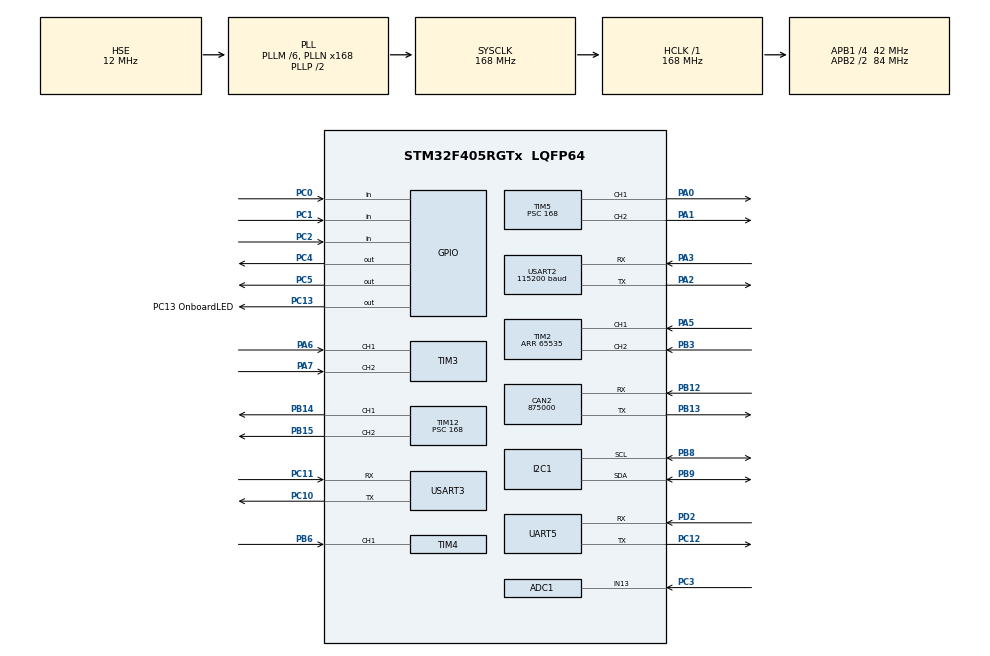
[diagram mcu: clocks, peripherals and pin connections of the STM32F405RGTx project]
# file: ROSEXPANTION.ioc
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ADC1.Channel-0\#ChannelRegularConversion=ADC_CHANNEL_13
ADC1.ContinuousConvMode=ENABLE
ADC1.NbrOfConversionFlag=1
ADC1.Rank-0\#ChannelRegularConversion=1
ADC1.SamplingTime-0\#ChannelRegularConversion=ADC_SAMPLETIME_3CYCLES
ADC1.master=1
CAN2.CalculateBaudRate=875000
CAN2.CalculateTimeBit=1142
CAN2.CalculateTimeQuantum=380.95238095238096
Dma.Request0=USART2_RX
Dma.Request1=USART2_TX
Dma.USART2_RX.0.Direction=DMA_PERIPH_TO_MEMORY
Dma.USART2_RX.0.FIFOMode=DMA_FIFOMODE_DISABLE
Dma.USART2_RX.0.Instance=DMA1_Stream5
Dma.USART2_RX.0.MemDataAlignment=DMA_MDATAALIGN_BYTE
Dma.USART2_RX.0.MemInc=DMA_MINC_ENABLE
Dma.USART2_RX.0.Mode=DMA_NORMAL
Dma.USART2_RX.0.PeriphDataAlignment=DMA_PDATAALIGN_BYTE
Dma.USART2_RX.0.PeriphInc=DMA_PINC_DISABLE
Dma.USART2_RX.0.Priority=DMA_PRIORITY_HIGH
Dma.USART2_TX.1.Direction=DMA_MEMORY_TO_PERIPH
Dma.USART2_TX.1.FIFOMode=DMA_FIFOMODE_DISABLE
Dma.USART2_TX.1.Instance=DMA1_Stream6
Dma.USART2_TX.1.MemDataAlignment=DMA_MDATAALIGN_BYTE
Dma.USART2_TX.1.MemInc=DMA_MINC_ENABLE
Dma.USART2_TX.1.Mode=DMA_NORMAL
Dma.USART2_TX.1.PeriphDataAlignment=DMA_PDATAALIGN_BYTE
Dma.USART2_TX.1.PeriphInc=DMA_PINC_DISABLE
Dma.USART2_TX.1.Priority=DMA_PRIORITY_HIGH
I2C1.I2C_Mode=I2C_Fast
Mcu.Family=STM32F4
Mcu.Name=STM32F405RGTx
Mcu.Package=LQFP64
NVIC.DMA1_Stream5_IRQn=true\:0\:0\:false\:false\:true\:false\:true\:true
NVIC.DMA1_Stream6_IRQn=true\:0\:0\:false\:false\:true\:false\:true\:true
NVIC.PriorityGroup=NVIC_PRIORITYGROUP_4
NVIC.TIM2_IRQn=true\:0\:0\:false\:false\:true\:true\:true\:true
NVIC.TIM3_IRQn=true\:0\:0\:false\:false\:true\:true\:true\:true
NVIC.TIM4_IRQn=true\:0\:0\:false\:false\:true\:true\:true\:true
NVIC.TIM5_IRQn=true\:0\:0\:false\:false\:true\:true\:true\:true
NVIC.TIM8_BRK_TIM12_IRQn=true\:0\:0\:false\:false\:true\:true\:true\:true
NVIC.UART5_IRQn=true\:0\:0\:false\:false\:true\:true\:true\:true
NVIC.USART2_IRQn=true\:0\:0\:false\:false\:true\:true\:true\:true
PA0-WKUP.Signal=S_TIM5_CH1
PA1.Signal=S_TIM5_CH2
PA13.Signal=SYS_JTMS-SWDIO
PA14.Signal=SYS_JTCK-SWCLK
PA2.Mode=Asynchronous
PA2.Signal=USART2_TX
PA3.Mode=Asynchronous
PA3.Signal=USART2_RX
PA5.Signal=S_TIM2_CH1_ETR
PA6.Signal=S_TIM3_CH1
PA7.Signal=S_TIM3_CH2
PB12.Mode=CAN_Activate
PB12.Signal=CAN2_RX
PB13.Mode=CAN_Activate
PB13.Signal=CAN2_TX
PB14.Signal=S_TIM12_CH1
PB15.Signal=S_TIM12_CH2
PB3.Signal=S_TIM2_CH2
PB6.Signal=S_TIM4_CH1
PB8.Mode=I2C
PB8.Signal=I2C1_SCL
PB9.Mode=I2C
PB9.Signal=I2C1_SDA
PC0.Signal=GPIO_Input
PC1.Signal=GPIO_Input
PC10.Mode=Asynchronous
PC10.Signal=USART3_TX
PC11.Mode=Asynchronous
PC11.Signal=USART3_RX
PC12.Mode=Asynchronous
PC12.Signal=UART5_TX
PC13-ANTI_TAMP.GPIO_Label=PC13 OnboardLED
PC13-ANTI_TAMP.Signal=GPIO_Output
PC14-OSC32_IN.Mode=LSE-External-Oscillator
PC14-OSC32_IN.Signal=RCC_OSC32_IN
PC15-OSC32_OUT.Mode=LSE-External-Oscillator
PC15-OSC32_OUT.Signal=RCC_OSC32_OUT
PC2.Signal=GPIO_Input
PC3.Signal=ADCx_IN13
PC4.Signal=GPIO_Output
PC5.Signal=GPIO_Output
PD2.Mode=Asynchronous
PD2.Signal=UART5_RX
PH0-OSC_IN.Mode=HSE-External-Oscillator
PH0-OSC_IN.Signal=RCC_OSC_IN
PH1-OSC_OUT.Mode=HSE-External-Oscillator
PH1-OSC_OUT.Signal=RCC_OSC_OUT
ProjectManager.HeapSize=0x200
ProjectManager.StackSize=0x400
ProjectManager.TargetToolchain=STM32CubeIDE
RCC.48MHZClocksFreq_Value=48000000
RCC.AHBFreq_Value=168000000
RCC.APB1CLKDivider=RCC_HCLK_DIV4
RCC.APB1Freq_Value=42000000
RCC.APB1TimFreq_Value=84000000
RCC.APB2CLKDivider=RCC_HCLK_DIV2
RCC.APB2Freq_Value=84000000
RCC.APB2TimFreq_Value=168000000
RCC.CortexFreq_Value=168000000
RCC.HCLKFreq_Value=168000000
RCC.HSE_VALUE=12000000
RCC.HSI_VALUE=16000000
RCC.PLLM=6
RCC.PLLN=168
RCC.PLLQ=7
RCC.PLLSourceVirtual=RCC_PLLSOURCE_HSE
RCC.RCC_RTC_Clock_Source=RCC_RTCCLKSOURCE_LSE
RCC.RCC_RTC_Clock_SourceVirtual=RCC_RTCCLKSOURCE_LSE
RCC.SYSCLKFreq_VALUE=168000000
RCC.SYSCLKSource=RCC_SYSCLKSOURCE_PLLCLK
RCC.VCOOutputFreq_Value=336000000
SH.ADCx_IN13.0=ADC1_IN13,IN13
SH.S_TIM12_CH1.0=TIM12_CH1,PWM Generation1 CH1
SH.S_TIM12_CH2.0=TIM12_CH2,PWM Generation2 CH2
SH.S_TIM2_CH1_ETR.0=TIM2_CH1,Encoder_Interface
SH.S_TIM2_CH2.0=TIM2_CH2,Encoder_Interface
SH.S_TIM3_CH1.0=TIM3_CH1,Encoder_Interface
SH.S_TIM3_CH2.0=TIM3_CH2,Encoder_Interface
SH.S_TIM4_CH1.0=TIM4_CH1,PWM_Input_1
SH.S_TIM5_CH1.0=TIM5_CH1,PWM Generation1 CH1
SH.S_TIM5_CH2.0=TIM5_CH2,PWM Generation2 CH2
TIM1.AutoReloadPreload=TIM_AUTORELOAD_PRELOAD_DISABLE
TIM1.Period=100-1
TIM1.Prescaler=84-1
TIM12.Channel-PWM\ Generation1\ CH1=TIM_CHANNEL_1
TIM12.Channel-PWM\ Generation2\ CH2=TIM_CHANNEL_2
TIM12.Period=10000
TIM12.Prescaler=168
TIM2.EncoderMode=TIM_ENCODERMODE_TI12
TIM2.Period=65535
TIM3.EncoderMode=TIM_ENCODERMODE_TI12
TIM3.IC1Polarity=TIM_ICPOLARITY_RISING
TIM3.IC2Polarity=TIM_ICPOLARITY_RISING
TIM4.Prescaler=83
TIM5.Channel-PWM\ Generation1\ CH1=TIM_CHANNEL_1
TIM5.Channel-PWM\ Generation2\ CH2=TIM_CHANNEL_2
TIM5.Period=10000
TIM5.Prescaler=168
TIM8.Period=100-1
TIM8.Prescaler=84-1
UART5.VirtualMode=Asynchronous
USART2.BaudRate=115200
USART2.VirtualMode=VM_ASYNC
USART3.VirtualMode=VM_ASYNC
VP_RTC_VS_RTC_Activate.Mode=RTC_Enabled
VP_TIM12_VS_ClockSourceINT.Mode=Internal
VP_TIM1_VS_ClockSourceINT.Mode=Internal
VP_TIM4_VS_ClockSourceINT.Mode=Internal
VP_TIM5_VS_ClockSourceINT.Mode=Internal
VP_TIM8_VS_ClockSourceINT.Mode=Internal
board=custom

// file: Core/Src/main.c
/* USER CODE BEGIN Header */
/**
  ******************************************************************************
  * @file           : main.c
  * @brief          : Main program body
  ******************************************************************************
  * @attention
  *
  * Copyright (c) 2024 STMicroelectronics.
  * All rights reserved.
  *
  * This software is licensed under terms that can be found in the LICENSE file
  * in the root directory of this software component.
  * If no LICENSE file comes with this software, it is provided AS-IS.
  *
  ******************************************************************************
  */
/* USER CODE END Header */
#include "main.h"

/* USER CODE BEGIN Includes */
  uint16_t rangeluna=0;
  uint16_t rangelunaL=0;
  uint16_t rangelunaR=0;
  const int numReadings = 10;

  int readings1[10];  // the readings from the analog input
  int readIndex1 = 0;          // the index of the current reading
  int total1 = 0;              // the running total
  int average1 = 0;            // the average

  int readings2[10];  // the readings from the analog input
  int readIndex2 = 0;          // the index of the current reading
  int total2 = 0;              // the running total
  int average2 = 0;            // the average
  float accumulator=0;
/* USER CODE END Includes */

ADC_HandleTypeDef hadc1;

CAN_HandleTypeDef hcan2;

I2C_HandleTypeDef hi2c1;

RTC_HandleTypeDef hrtc;

TIM_HandleTypeDef htim1;
TIM_HandleTypeDef htim2;
TIM_HandleTypeDef htim3;
TIM_HandleTypeDef htim4;
TIM_HandleTypeDef htim5;
TIM_HandleTypeDef htim8;
TIM_HandleTypeDef htim12;

UART_HandleTypeDef huart5;
UART_HandleTypeDef huart2;
UART_HandleTypeDef huart3;
DMA_HandleTypeDef hdma_usart2_rx;
DMA_HandleTypeDef hdma_usart2_tx;

void SystemClock_Config(void);
static void MX_GPIO_Init(void);
static void MX_DMA_Init(void);
static void MX_I2C1_Init(void);
static void MX_USART2_UART_Init(void);
static void MX_CAN2_Init(void);
static void MX_TIM2_Init(void);
static void MX_TIM3_Init(void);
static void MX_TIM4_Init(void);
static void MX_TIM5_Init(void);
static void MX_TIM8_Init(void);
static void MX_ADC1_Init(void);
static void MX_RTC_Init(void);
static void MX_USART3_UART_Init(void);
static void MX_TIM1_Init(void);
static void MX_UART5_Init(void);
static void MX_TIM12_Init(void);

/* USER CODE BEGIN 0 */
uint8_t rx_buff[20];
uint16_t lunaLofset=0;
uint16_t lunaRofset=0;

/* USER CODE END 0 */

int main(void)
{

  /* MCU Configuration--------------------------------------------------------*/

  /* Reset of all peripherals, Initializes the Flash interface and the Systick. */
  HAL_Init();

  /* Configure the system clock */
  SystemClock_Config();

  /* Initialize all configured peripherals */
  MX_GPIO_Init();
  MX_DMA_Init();
  MX_I2C1_Init();
  MX_USART2_UART_Init();
  MX_CAN2_Init();
  MX_TIM2_Init();
  MX_TIM3_Init();
  MX_TIM4_Init();
  MX_TIM5_Init();
  MX_TIM8_Init();
  MX_ADC1_Init();
  MX_RTC_Init();
  MX_USART3_UART_Init();
  MX_TIM1_Init();
  MX_UART5_Init();
  MX_TIM12_Init();
  /* USER CODE BEGIN 2 */

  TIM5->CCR2 = 5000;
  TIM5->CCR1 = 5000;
  TIM12->CCR2 = 5000;
  TIM12->CCR1 = 5000;
 HAL_TIM_PWM_Start(&htim5, TIM_CHANNEL_1);
 HAL_TIM_PWM_Start(&htim5, TIM_CHANNEL_2);
 HAL_TIM_PWM_Start(&htim12, TIM_CHANNEL_1);
 HAL_TIM_PWM_Start(&htim12, TIM_CHANNEL_2);

  setupcpp();
  //HAL_TIM_IC_Start_IT(&htim5, TIM_CHANNEL_1);// Interrupt
  uint32_t time_ms_tick,time_ms_otick,time_ms_lcdtick;

  for (int thisReading1 = 0; thisReading1 < numReadings; thisReading1++) {
    readings1[thisReading1] = 0;
  }
  for (int thisReading2 = 0; thisReading2 < numReadings; thisReading2++) {
    readings2[thisReading2] = 0;
  }

  /* USER CODE END 2 */

  /* Infinite loop */
  /* USER CODE BEGIN WHILE */
  while (1)
  {

	  time_ms_tick = HAL_GetTick();
	  if(time_ms_tick -time_ms_otick > 100){
		  	time_ms_otick=time_ms_tick;
			loop();//Access CPP
	  }

	  for(int k =0;k<20;k++){
		  rx_buff[k]=0x00;
	  }

	  if(HAL_UART_Receive(&huart5, rx_buff, 20, 50)==HAL_OK) //if transfer is successful
	  {
	    __NOP(); //You need to toggle a breakpoint on this line!
	    for(int uidx=0;uidx<19;uidx++){
	    	if(uidx<15){
				if(rx_buff[uidx]==0x59 & rx_buff[uidx+1]==0x59){
					rangeluna = rx_buff[uidx+2] | rx_buff[uidx+3]<<8;
					rangeluna=rangeluna-lunaLofset;

					//Check if Value is OK
					if((rangeluna > 0) & (rangeluna < 500) ){

						  // subtract the last reading:
						  total1 = total1 - readings1[readIndex1];
						  // read from the sensor:
						  readings1[readIndex1] = rangeluna;
						  // add the reading to the total:
						  total1 = total1 + readings1[readIndex1];
						  // advance to the next position in the array:
						  readIndex1 = readIndex1 + 1;
						  // if we're at the end of the array...
						  if (readIndex1 >= numReadings) {
							// ...wrap around to the beginning:
							readIndex1 = 0;
						  }
						  // calculate the average:
						  rangelunaR = total1 / numReadings;

					}else{
						rangelunaR = 70;
					}

				}
	    	}
	    }

	  } else {
		  rangelunaR=0;

	  }

	  if(HAL_UART_Receive(&huart3, rx_buff, 20, 50)==HAL_OK) //if transfer is successful
	  {
	    __NOP(); //You need to toggle a breakpoint on this line!
	    for(int uidx=0;uidx<19;uidx++){
	    	if(uidx<15){
				if(rx_buff[uidx]==0x59 & rx_buff[uidx+1]==0x59){
					rangeluna = rx_buff[uidx+2] | rx_buff[uidx+3]<<8;
					rangeluna=rangeluna-lunaRofset;

					//Check if Value is OK
					if((rangeluna > 0) & (rangeluna < 500) ){

						  // subtract the last reading:
						  total2 = total2 - readings2[readIndex2];
						  // read from the sensor:
						  readings2[readIndex2] = rangeluna;
						  // add the reading to the total:
						  total2 = total2 + readings2[readIndex2];
						  // advance to the next position in the array:
						  readIndex2 = readIndex2 + 1;
						  // if we're at the end of the array...
						  if (readIndex2 >= numReadings) {
							// ...wrap around to the beginning:
							readIndex2 = 0;
						  }
						  // calculate the average:
						  rangelunaL = total2 / numReadings;

					}else{
						rangelunaL = 70;
					}

				}
	    	}
	    }

	  } else {
	    __NOP();
	    rangelunaL=0;
	  }

    /* USER CODE END WHILE */

  }
}

void SystemClock_Config(void)
{
  RCC_OscInitTypeDef RCC_OscInitStruct = {0};
  RCC_ClkInitTypeDef RCC_ClkInitStruct = {0};

  /** Configure the main internal regulator output voltage
  */
  __HAL_RCC_PWR_CLK_ENABLE();
  __HAL_PWR_VOLTAGESCALING_CONFIG(PWR_REGULATOR_VOLTAGE_SCALE1);

  /** Initializes the RCC Oscillators according to the specified parameters
  * in the RCC_OscInitTypeDef structure.
  */
  RCC_OscInitStruct.OscillatorType = RCC_OSCILLATORTYPE_HSE|RCC_OSCILLATORTYPE_LSE;
  RCC_OscInitStruct.HSEState = RCC_HSE_ON;
  RCC_OscInitStruct.LSEState = RCC_LSE_ON;
  RCC_OscInitStruct.PLL.PLLState = RCC_PLL_ON;
  RCC_OscInitStruct.PLL.PLLSource = RCC_PLLSOURCE_HSE;
  RCC_OscInitStruct.PLL.PLLM = 6;
  RCC_OscInitStruct.PLL.PLLN = 168;
  RCC_OscInitStruct.PLL.PLLP = RCC_PLLP_DIV2;
  RCC_OscInitStruct.PLL.PLLQ = 7;
  if (HAL_RCC_OscConfig(&RCC_OscInitStruct) != HAL_OK)
  {
    Error_Handler();
  }

  /** Initializes the CPU, AHB and APB buses clocks
  */
  RCC_ClkInitStruct.ClockType = RCC_CLOCKTYPE_HCLK|RCC_CLOCKTYPE_SYSCLK
                              |RCC_CLOCKTYPE_PCLK1|RCC_CLOCKTYPE_PCLK2;
  RCC_ClkInitStruct.SYSCLKSource = RCC_SYSCLKSOURCE_PLLCLK;
  RCC_ClkInitStruct.AHBCLKDivider = RCC_SYSCLK_DIV1;
  RCC_ClkInitStruct.APB1CLKDivider = RCC_HCLK_DIV4;
  RCC_ClkInitStruct.APB2CLKDivider = RCC_HCLK_DIV2;

  if (HAL_RCC_ClockConfig(&RCC_ClkInitStruct, FLASH_LATENCY_5) != HAL_OK)
  {
    Error_Handler();
  }
}

static void MX_ADC1_Init(void)
{

  ADC_ChannelConfTypeDef sConfig = {0};

  /** Configure the global features of the ADC (Clock, Resolution, Data Alignment and number of conversion)
  */
  hadc1.Instance = ADC1;
  hadc1.Init.ClockPrescaler = ADC_CLOCK_SYNC_PCLK_DIV4;
  hadc1.Init.Resolution = ADC_RESOLUTION_12B;
  hadc1.Init.ScanConvMode = DISABLE;
  hadc1.Init.ContinuousConvMode = ENABLE;
  hadc1.Init.DiscontinuousConvMode = DISABLE;
  hadc1.Init.ExternalTrigConvEdge = ADC_EXTERNALTRIGCONVEDGE_NONE;
  hadc1.Init.ExternalTrigConv = ADC_SOFTWARE_START;
  hadc1.Init.DataAlign = ADC_DATAALIGN_RIGHT;
  hadc1.Init.NbrOfConversion = 1;
  hadc1.Init.DMAContinuousRequests = DISABLE;
  hadc1.Init.EOCSelection = ADC_EOC_SINGLE_CONV;
  if (HAL_ADC_Init(&hadc1) != HAL_OK)
  {
    Error_Handler();
  }

  /** Configure for the selected ADC regular channel its corresponding rank in the sequencer and its sample time.
  */
  sConfig.Channel = ADC_CHANNEL_13;
  sConfig.Rank = 1;
  sConfig.SamplingTime = ADC_SAMPLETIME_3CYCLES;
  if (HAL_ADC_ConfigChannel(&hadc1, &sConfig) != HAL_OK)
  {
    Error_Handler();
  }

}

static void MX_CAN2_Init(void)
{

  hcan2.Instance = CAN2;
  hcan2.Init.Prescaler = 16;
  hcan2.Init.Mode = CAN_MODE_NORMAL;
  hcan2.Init.SyncJumpWidth = CAN_SJW_1TQ;
  hcan2.Init.TimeSeg1 = CAN_BS1_1TQ;
  hcan2.Init.TimeSeg2 = CAN_BS2_1TQ;
  hcan2.Init.TimeTriggeredMode = DISABLE;
  hcan2.Init.AutoBusOff = DISABLE;
  hcan2.Init.AutoWakeUp = DISABLE;
  hcan2.Init.AutoRetransmission = DISABLE;
  hcan2.Init.ReceiveFifoLocked = DISABLE;
  hcan2.Init.TransmitFifoPriority = DISABLE;
  if (HAL_CAN_Init(&hcan2) != HAL_OK)
  {
    Error_Handler();
  }

}

static void MX_I2C1_Init(void)
{

  hi2c1.Instance = I2C1;
  hi2c1.Init.ClockSpeed = 400000;
  hi2c1.Init.DutyCycle = I2C_DUTYCYCLE_2;
  hi2c1.Init.OwnAddress1 = 0;
  hi2c1.Init.AddressingMode = I2C_ADDRESSINGMODE_7BIT;
  hi2c1.Init.DualAddressMode = I2C_DUALADDRESS_DISABLE;
  hi2c1.Init.OwnAddress2 = 0;
  hi2c1.Init.GeneralCallMode = I2C_GENERALCALL_DISABLE;
  hi2c1.Init.NoStretchMode = I2C_NOSTRETCH_DISABLE;
  if (HAL_I2C_Init(&hi2c1) != HAL_OK)
  {
    Error_Handler();
  }

}

static void MX_RTC_Init(void)
{

  /** Initialize RTC Only
  */
  hrtc.Instance = RTC;
  hrtc.Init.HourFormat = RTC_HOURFORMAT_24;
  hrtc.Init.AsynchPrediv = 127;
  hrtc.Init.SynchPrediv = 255;
  hrtc.Init.OutPut = RTC_OUTPUT_DISABLE;
  hrtc.Init.OutPutPolarity = RTC_OUTPUT_POLARITY_HIGH;
  hrtc.Init.OutPutType = RTC_OUTPUT_TYPE_OPENDRAIN;
  if (HAL_RTC_Init(&hrtc) != HAL_OK)
  {
    Error_Handler();
  }

}

static void MX_TIM1_Init(void)
{

  TIM_ClockConfigTypeDef sClockSourceConfig = {0};
  TIM_MasterConfigTypeDef sMasterConfig = {0};

  htim1.Instance = TIM1;
  htim1.Init.Prescaler = 84-1;
  htim1.Init.CounterMode = TIM_COUNTERMODE_UP;
  htim1.Init.Period = 100-1;
  htim1.Init.ClockDivision = TIM_CLOCKDIVISION_DIV1;
  htim1.Init.RepetitionCounter = 0;
  htim1.Init.AutoReloadPreload = TIM_AUTORELOAD_PRELOAD_DISABLE;
  if (HAL_TIM_Base_Init(&htim1) != HAL_OK)
  {
    Error_Handler();
  }
  sClockSourceConfig.ClockSource = TIM_CLOCKSOURCE_INTERNAL;
  if (HAL_TIM_ConfigClockSource(&htim1, &sClockSourceConfig) != HAL_OK)
  {
    Error_Handler();
  }
  sMasterConfig.MasterOutputTrigger = TIM_TRGO_RESET;
  sMasterConfig.MasterSlaveMode = TIM_MASTERSLAVEMODE_DISABLE;
  if (HAL_TIMEx_MasterConfigSynchronization(&htim1, &sMasterConfig) != HAL_OK)
  {
    Error_Handler();
  }

}

static void MX_TIM2_Init(void)
{

  TIM_Encoder_InitTypeDef sConfig = {0};
  TIM_MasterConfigTypeDef sMasterConfig = {0};

  htim2.Instance = TIM2;
  htim2.Init.Prescaler = 0;
  htim2.Init.CounterMode = TIM_COUNTERMODE_UP;
  htim2.Init.Period = 65535;
  htim2.Init.ClockDivision = TIM_CLOCKDIVISION_DIV1;
  htim2.Init.AutoReloadPreload = TIM_AUTORELOAD_PRELOAD_DISABLE;
  sConfig.EncoderMode = TIM_ENCODERMODE_TI12;
  sConfig.IC1Polarity = TIM_ICPOLARITY_RISING;
  sConfig.IC1Selection = TIM_ICSELECTION_DIRECTTI;
  sConfig.IC1Prescaler = TIM_ICPSC_DIV1;
  sConfig.IC1Filter = 0;
  sConfig.IC2Polarity = TIM_ICPOLARITY_RISING;
  sConfig.IC2Selection = TIM_ICSELECTION_DIRECTTI;
  sConfig.IC2Prescaler = TIM_ICPSC_DIV1;
  sConfig.IC2Filter = 0;
  if (HAL_TIM_Encoder_Init(&htim2, &sConfig) != HAL_OK)
  {
    Error_Handler();
  }
  sMasterConfig.MasterOutputTrigger = TIM_TRGO_RESET;
  sMasterConfig.MasterSlaveMode = TIM_MASTERSLAVEMODE_DISABLE;
  if (HAL_TIMEx_MasterConfigSynchronization(&htim2, &sMasterConfig) != HAL_OK)
  {
    Error_Handler();
  }

}

static void MX_TIM3_Init(void)
{

  TIM_Encoder_InitTypeDef sConfig = {0};
  TIM_MasterConfigTypeDef sMasterConfig = {0};

  htim3.Instance = TIM3;
  htim3.Init.Prescaler = 0;
  htim3.Init.CounterMode = TIM_COUNTERMODE_UP;
  htim3.Init.Period = 65535;
  htim3.Init.ClockDivision = TIM_CLOCKDIVISION_DIV1;
  htim3.Init.AutoReloadPreload = TIM_AUTORELOAD_PRELOAD_DISABLE;
  sConfig.EncoderMode = TIM_ENCODERMODE_TI12;
  sConfig.IC1Polarity = TIM_ICPOLARITY_RISING;
  sConfig.IC1Selection = TIM_ICSELECTION_DIRECTTI;
  sConfig.IC1Prescaler = TIM_ICPSC_DIV1;
  sConfig.IC1Filter = 0;
  sConfig.IC2Polarity = TIM_ICPOLARITY_RISING;
  sConfig.IC2Selection = TIM_ICSELECTION_DIRECTTI;
  sConfig.IC2Prescaler = TIM_ICPSC_DIV1;
  sConfig.IC2Filter = 0;
  if (HAL_TIM_Encoder_Init(&htim3, &sConfig) != HAL_OK)
  {
    Error_Handler();
  }
  sMasterConfig.MasterOutputTrigger = TIM_TRGO_RESET;
  sMasterConfig.MasterSlaveMode = TIM_MASTERSLAVEMODE_DISABLE;
  if (HAL_TIMEx_MasterConfigSynchronization(&htim3, &sMasterConfig) != HAL_OK)
  {
    Error_Handler();
  }

}

static void MX_TIM4_Init(void)
{

  TIM_ClockConfigTypeDef sClockSourceConfig = {0};
  TIM_SlaveConfigTypeDef sSlaveConfig = {0};
  TIM_IC_InitTypeDef sConfigIC = {0};
  TIM_MasterConfigTypeDef sMasterConfig = {0};

  htim4.Instance = TIM4;
  htim4.Init.Prescaler = 83;
  htim4.Init.CounterMode = TIM_COUNTERMODE_UP;
  htim4.Init.Period = 65535;
  htim4.Init.ClockDivision = TIM_CLOCKDIVISION_DIV1;
  htim4.Init.AutoReloadPreload = TIM_AUTORELOAD_PRELOAD_DISABLE;
  if (HAL_TIM_Base_Init(&htim4) != HAL_OK)
  {
    Error_Handler();
  }
  sClockSourceConfig.ClockSource = TIM_CLOCKSOURCE_INTERNAL;
  if (HAL_TIM_ConfigClockSource(&htim4, &sClockSourceConfig) != HAL_OK)
  {
    Error_Handler();
  }
  if (HAL_TIM_IC_Init(&htim4) != HAL_OK)
  {
    Error_Handler();
  }
  sSlaveConfig.SlaveMode = TIM_SLAVEMODE_RESET;
  sSlaveConfig.InputTrigger = TIM_TS_TI1FP1;
  sSlaveConfig.TriggerPolarity = TIM_INPUTCHANNELPOLARITY_RISING;
  sSlaveConfig.TriggerPrescaler = TIM_ICPSC_DIV1;
  sSlaveConfig.TriggerFilter = 0;
  if (HAL_TIM_SlaveConfigSynchro(&htim4, &sSlaveConfig) != HAL_OK)
  {
    Error_Handler();
  }
  sConfigIC.ICPolarity = TIM_INPUTCHANNELPOLARITY_RISING;
  sConfigIC.ICSelection = TIM_ICSELECTION_DIRECTTI;
  sConfigIC.ICPrescaler = TIM_ICPSC_DIV1;
  sConfigIC.ICFilter = 0;
  if (HAL_TIM_IC_ConfigChannel(&htim4, &sConfigIC, TIM_CHANNEL_1) != HAL_OK)
  {
    Error_Handler();
  }
  sConfigIC.ICPolarity = TIM_INPUTCHANNELPOLARITY_FALLING;
  sConfigIC.ICSelection = TIM_ICSELECTION_INDIRECTTI;
  if (HAL_TIM_IC_ConfigChannel(&htim4, &sConfigIC, TIM_CHANNEL_2) != HAL_OK)
  {
    Error_Handler();
  }
  sMasterConfig.MasterOutputTrigger = TIM_TRGO_RESET;
  sMasterConfig.MasterSlaveMode = TIM_MASTERSLAVEMODE_DISABLE;
  if (HAL_TIMEx_MasterConfigSynchronization(&htim4, &sMasterConfig) != HAL_OK)
  {
    Error_Handler();
  }

}

static void MX_TIM5_Init(void)
{

  TIM_ClockConfigTypeDef sClockSourceConfig = {0};
  TIM_MasterConfigTypeDef sMasterConfig = {0};
  TIM_OC_InitTypeDef sConfigOC = {0};

  htim5.Instance = TIM5;
  htim5.Init.Prescaler = 168;
  htim5.Init.CounterMode = TIM_COUNTERMODE_UP;
  htim5.Init.Period = 10000;
  htim5.Init.ClockDivision = TIM_CLOCKDIVISION_DIV1;
  htim5.Init.AutoReloadPreload = TIM_AUTORELOAD_PRELOAD_DISABLE;
  if (HAL_TIM_Base_Init(&htim5) != HAL_OK)
  {
    Error_Handler();
  }
  sClockSourceConfig.ClockSource = TIM_CLOCKSOURCE_INTERNAL;
  if (HAL_TIM_ConfigClockSource(&htim5, &sClockSourceConfig) != HAL_OK)
  {
    Error_Handler();
  }
  if (HAL_TIM_PWM_Init(&htim5) != HAL_OK)
  {
    Error_Handler();
  }
  sMasterConfig.MasterOutputTrigger = TIM_TRGO_RESET;
  sMasterConfig.MasterSlaveMode = TIM_MASTERSLAVEMODE_DISABLE;
  if (HAL_TIMEx_MasterConfigSynchronization(&htim5, &sMasterConfig) != HAL_OK)
  {
    Error_Handler();
  }
  sConfigOC.OCMode = TIM_OCMODE_PWM1;
  sConfigOC.Pulse = 0;
  sConfigOC.OCPolarity = TIM_OCPOLARITY_HIGH;
  sConfigOC.OCFastMode = TIM_OCFAST_DISABLE;
  if (HAL_TIM_PWM_ConfigChannel(&htim5, &sConfigOC, TIM_CHANNEL_1) != HAL_OK)
  {
    Error_Handler();
  }
  if (HAL_TIM_PWM_ConfigChannel(&htim5, &sConfigOC, TIM_CHANNEL_2) != HAL_OK)
  {
    Error_Handler();
  }
  HAL_TIM_MspPostInit(&htim5);

}

static void MX_TIM8_Init(void)
{

  TIM_ClockConfigTypeDef sClockSourceConfig = {0};
  TIM_MasterConfigTypeDef sMasterConfig = {0};

  htim8.Instance = TIM8;
  htim8.Init.Prescaler = 84-1;
  htim8.Init.CounterMode = TIM_COUNTERMODE_UP;
  htim8.Init.Period = 100-1;
  htim8.Init.ClockDivision = TIM_CLOCKDIVISION_DIV1;
  htim8.Init.RepetitionCounter = 0;
  htim8.Init.AutoReloadPreload = TIM_AUTORELOAD_PRELOAD_DISABLE;
  if (HAL_TIM_Base_Init(&htim8) != HAL_OK)
  {
    Error_Handler();
  }
  sClockSourceConfig.ClockSource = TIM_CLOCKSOURCE_INTERNAL;
  if (HAL_TIM_ConfigClockSource(&htim8, &sClockSourceConfig) != HAL_OK)
  {
    Error_Handler();
  }
  sMasterConfig.MasterOutputTrigger = TIM_TRGO_RESET;
  sMasterConfig.MasterSlaveMode = TIM_MASTERSLAVEMODE_DISABLE;
  if (HAL_TIMEx_MasterConfigSynchronization(&htim8, &sMasterConfig) != HAL_OK)
  {
    Error_Handler();
  }

}

static void MX_TIM12_Init(void)
{

  TIM_ClockConfigTypeDef sClockSourceConfig = {0};
  TIM_OC_InitTypeDef sConfigOC = {0};

  htim12.Instance = TIM12;
  htim12.Init.Prescaler = 168;
  htim12.Init.CounterMode = TIM_COUNTERMODE_UP;
  htim12.Init.Period = 10000;
  htim12.Init.ClockDivision = TIM_CLOCKDIVISION_DIV1;
  htim12.Init.AutoReloadPreload = TIM_AUTORELOAD_PRELOAD_DISABLE;
  if (HAL_TIM_Base_Init(&htim12) != HAL_OK)
  {
    Error_Handler();
  }
  sClockSourceConfig.ClockSource = TIM_CLOCKSOURCE_INTERNAL;
  if (HAL_TIM_ConfigClockSource(&htim12, &sClockSourceConfig) != HAL_OK)
  {
    Error_Handler();
  }
  if (HAL_TIM_PWM_Init(&htim12) != HAL_OK)
  {
    Error_Handler();
  }
  sConfigOC.OCMode = TIM_OCMODE_PWM1;
  sConfigOC.Pulse = 0;
  sConfigOC.OCPolarity = TIM_OCPOLARITY_HIGH;
  sConfigOC.OCFastMode = TIM_OCFAST_DISABLE;
  if (HAL_TIM_PWM_ConfigChannel(&htim12, &sConfigOC, TIM_CHANNEL_1) != HAL_OK)
  {
    Error_Handler();
  }
  if (HAL_TIM_PWM_ConfigChannel(&htim12, &sConfigOC, TIM_CHANNEL_2) != HAL_OK)
  {
    Error_Handler();
  }
  HAL_TIM_MspPostInit(&htim12);

}

static void MX_UART5_Init(void)
{

  huart5.Instance = UART5;
  huart5.Init.BaudRate = 115200;
  huart5.Init.WordLength = UART_WORDLENGTH_8B;
  huart5.Init.StopBits = UART_STOPBITS_1;
  huart5.Init.Parity = UART_PARITY_NONE;
  huart5.Init.Mode = UART_MODE_TX_RX;
  huart5.Init.HwFlowCtl = UART_HWCONTROL_NONE;
  huart5.Init.OverSampling = UART_OVERSAMPLING_16;
  if (HAL_UART_Init(&huart5) != HAL_OK)
  {
    Error_Handler();
  }

}

static void MX_USART2_UART_Init(void)
{

  huart2.Instance = USART2;
  huart2.Init.BaudRate = 115200;
  huart2.Init.WordLength = UART_WORDLENGTH_8B;
  huart2.Init.StopBits = UART_STOPBITS_1;
  huart2.Init.Parity = UART_PARITY_NONE;
  huart2.Init.Mode = UART_MODE_TX_RX;
  huart2.Init.HwFlowCtl = UART_HWCONTROL_NONE;
  huart2.Init.OverSampling = UART_OVERSAMPLING_16;
  if (HAL_UART_Init(&huart2) != HAL_OK)
  {
    Error_Handler();
  }

}

static void MX_USART3_UART_Init(void)
{

  huart3.Instance = USART3;
  huart3.Init.BaudRate = 115200;
  huart3.Init.WordLength = UART_WORDLENGTH_8B;
  huart3.Init.StopBits = UART_STOPBITS_1;
  huart3.Init.Parity = UART_PARITY_NONE;
  huart3.Init.Mode = UART_MODE_TX_RX;
  huart3.Init.HwFlowCtl = UART_HWCONTROL_NONE;
  huart3.Init.OverSampling = UART_OVERSAMPLING_16;
  if (HAL_UART_Init(&huart3) != HAL_OK)
  {
    Error_Handler();
  }

}

static void MX_DMA_Init(void)
{

  /* DMA controller clock enable */
  __HAL_RCC_DMA1_CLK_ENABLE();

  /* DMA interrupt init */
  /* DMA1_Stream5_IRQn interrupt configuration */
  HAL_NVIC_SetPriority(DMA1_Stream5_IRQn, 0, 0);
  HAL_NVIC_EnableIRQ(DMA1_Stream5_IRQn);
  /* DMA1_Stream6_IRQn interrupt configuration */
  HAL_NVIC_SetPriority(DMA1_Stream6_IRQn, 0, 0);
  HAL_NVIC_EnableIRQ(DMA1_Stream6_IRQn);

}

static void MX_GPIO_Init(void)
{
  GPIO_InitTypeDef GPIO_InitStruct = {0};

  /* GPIO Ports Clock Enable */
  __HAL_RCC_GPIOC_CLK_ENABLE();
  __HAL_RCC_GPIOH_CLK_ENABLE();
  __HAL_RCC_GPIOA_CLK_ENABLE();
  __HAL_RCC_GPIOB_CLK_ENABLE();
  __HAL_RCC_GPIOD_CLK_ENABLE();

  /*Configure GPIO pin Output Level */
  HAL_GPIO_WritePin(GPIOC, PC13_OnboardLED_Pin|GPIO_PIN_4|GPIO_PIN_5, GPIO_PIN_RESET);

  /*Configure GPIO pins : PC13_OnboardLED_Pin PC4 PC5 */
  GPIO_InitStruct.Pin = PC13_OnboardLED_Pin|GPIO_PIN_4|GPIO_PIN_5;
  GPIO_InitStruct.Mode = GPIO_MODE_OUTPUT_PP;
  GPIO_InitStruct.Pull = GPIO_NOPULL;
  GPIO_InitStruct.Speed = GPIO_SPEED_FREQ_LOW;
  HAL_GPIO_Init(GPIOC, &GPIO_InitStruct);

  /*Configure GPIO pins : PC0 PC1 PC2 */
  GPIO_InitStruct.Pin = GPIO_PIN_0|GPIO_PIN_1|GPIO_PIN_2;
  GPIO_InitStruct.Mode = GPIO_MODE_INPUT;
  GPIO_InitStruct.Pull = GPIO_NOPULL;
  HAL_GPIO_Init(GPIOC, &GPIO_InitStruct);

}

void Error_Handler(void)
{
  __disable_irq();
  while (1)
  {
  }
}
